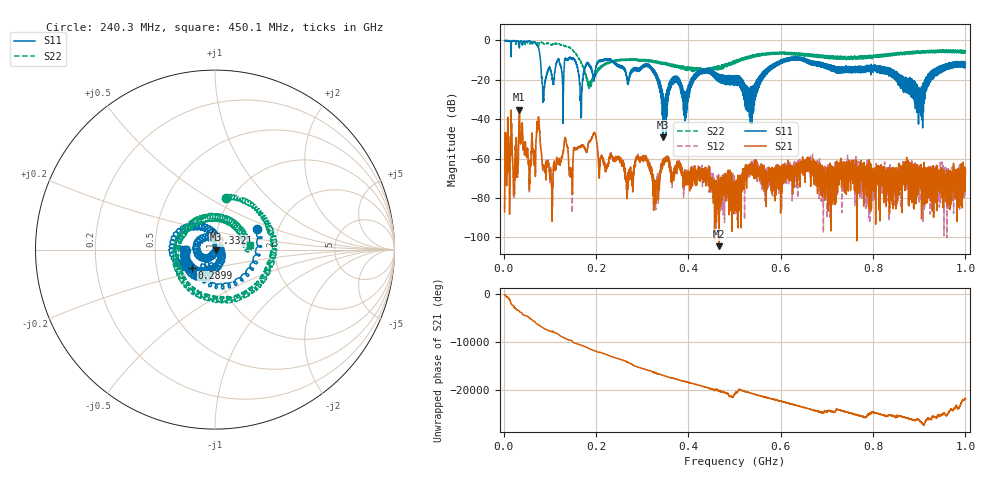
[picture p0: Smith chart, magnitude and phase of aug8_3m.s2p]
!Keysight Technologies N9923A: A.12.45
!Date: Friday, 08 August 2025 17:25:45
!Timezone: (UTC+08:00) Kuala Lumpur, Singapore
!Model: N9923A
!Serial: MY61181427
!GPS Latitude:
!GPS Longitude:
!GPS TimeStamp: 0001-01-01 00:00:00Z
!GPS Seconds Since Last Read: 0
!CHECKSUM:0427431856
!Correction: S11(ON U)S21(ON U)S12(ON U)S22(ON U)
!S2P File: Measurements:S11,S21,S12,S22:
# Hz S DB R 50
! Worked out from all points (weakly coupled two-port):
!   4001 points, 2 MHz to 1 GHz, reference 50 ohm
!   highest |S21| = -35.06 dB at 33.94 MHz (marker M1); lowest = -104.5 dB at 466.8 MHz (marker M2)
!   lowest |S11| = -49.1 dB at 345.3 MHz (marker M3), VSWR 1.01, Z = 50.3 - j0.0561 ohm
!   |S11| at or under -10 dB: 153.9 MHz to 207.6 MHz (53.76 MHz wide, 29.7 % of centre); 234.4 MHz to 599.5 MHz (365.1 MHz wide, 87.6 % of centre); 662.2 MHz to end of sweep (the widest 3 of 53)
!   |S22| runs from -24.4 to 0.0 dB; largest |S21 - S12| = 0.0014
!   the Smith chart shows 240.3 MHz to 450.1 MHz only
!   S11 on the Smith chart (normalised r, x): 240.3 MHz: 1.55, +0.38; 289.9 MHz: 0.76, -0.16; 332.1 MHz: 0.95, +0.18; 450.1 MHz: 0.69, +0.01
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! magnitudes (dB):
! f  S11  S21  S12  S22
! 2 MHz  -0.1  -87.1  -85.4  0.0
! 33.94 MHz  -3.8  -35.1  -35.2  -1.9
! 54.4 MHz  -0.3  -61.4  -61.4  -1.5
! 74.85 MHz  -3.5  -39.8  -39.8  -2.7
! 85.83 MHz  -29.8  -64.2  -64.3  -1.4
! 102.8 MHz  -15.6  -69.1  -67.5  -2.0
! 134 MHz  -9.5  -49.8  -50.0  -3.0
! 148.5 MHz  -8.9  -77.7  -87.5  -4.8
! 168.4 MHz  -35.1  -53.7  -53.7  -11.5
! 240.3 MHz  -11.7  -60.0  -59.8  -10.6
! 267.5 MHz  -18.7  -80.4  -79.0  -10.1
! 289.9 MHz  -15.6  -58.9  -58.8  -9.5
! 332.1 MHz  -20.4  -75.6  -73.9  -10.6
! 334.8 MHz  -19.7  -80.8  -82.7  -11.7
! 345.3 MHz  -49.1  -62.7  -60.7  -11.5
! 450.1 MHz  -14.9  -69.7  -71.9  -14.2
! 466.8 MHz  -17.9  -104.5  -76.0  -13.1
! 501 MHz  -17.8  -74.9  -88.0  -11.7
! 667.4 MHz  -10.6  -61.7  -61.9  -7.4
! 833.8 MHz  -17.3  -70.2  -69.7  -7.1
! 902.7 MHz  -26.0  -66.5  -69.2  -6.3
! 1 GHz  -11.8  -67.6  -65.6  -5.8
